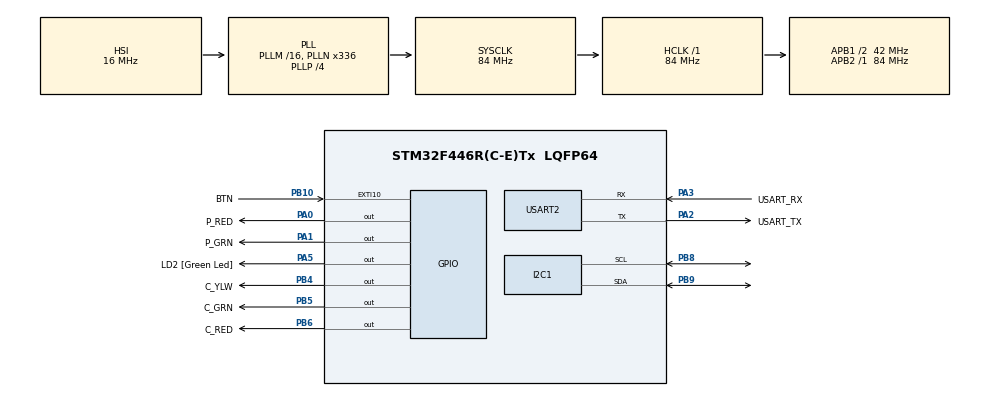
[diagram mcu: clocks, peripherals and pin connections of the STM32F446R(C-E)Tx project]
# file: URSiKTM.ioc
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I2C1.I2C_Mode=I2C_Standard
Mcu.Family=STM32F4
Mcu.Name=STM32F446R(C-E)Tx
Mcu.Package=LQFP64
NVIC.EXTI15_10_IRQn=true\:0\:0\:true\:false\:true\:true\:true\:true
NVIC.PriorityGroup=NVIC_PRIORITYGROUP_0
NVIC.TIM2_IRQn=true\:0\:0\:false\:false\:true\:true\:true\:true
NVIC.TIM6_DAC_IRQn=true\:0\:0\:true\:false\:true\:true\:true\:true
PA0-WKUP.GPIO_Label=P_RED
PA0-WKUP.Signal=GPIO_Output
PA1.GPIO_Label=P_GRN
PA1.Signal=GPIO_Output
PA13.GPIO_Label=TMS
PA13.Mode=Serial_Wire
PA13.Signal=SYS_JTMS-SWDIO
PA14.GPIO_Label=TCK
PA14.Mode=Serial_Wire
PA14.Signal=SYS_JTCK-SWCLK
PA2.GPIO_Label=USART_TX
PA2.Mode=Asynchronous
PA2.Signal=USART2_TX
PA3.GPIO_Label=USART_RX
PA3.Mode=Asynchronous
PA3.Signal=USART2_RX
PA5.GPIO_Label=LD2 [Green Led]
PA5.Signal=GPIO_Output
PB10.GPIO_Label=BTN
PB10.GPIO_ModeDefaultEXTI=GPIO_MODE_IT_FALLING
PB10.GPIO_PuPd=GPIO_PULLUP
PB10.Signal=GPXTI10
PB3.GPIO_Label=SWO
PB3.Signal=SYS_JTDO-SWO
PB4.GPIO_Label=C_YLW
PB4.Signal=GPIO_Output
PB5.GPIO_Label=C_GRN
PB5.Signal=GPIO_Output
PB6.GPIO_Label=C_RED
PB6.GPIO_PuPd=GPIO_NOPULL
PB6.Signal=GPIO_Output
PB8.Mode=I2C
PB8.Signal=I2C1_SCL
PB9.Mode=I2C
PB9.Signal=I2C1_SDA
PC14-OSC32_IN.Mode=LSE-External-Oscillator
PC14-OSC32_IN.Signal=RCC_OSC32_IN
PC15-OSC32_OUT.Mode=LSE-External-Oscillator
PC15-OSC32_OUT.Signal=RCC_OSC32_OUT
PH0-OSC_IN.Mode=HSE-External-Oscillator
PH0-OSC_IN.Signal=RCC_OSC_IN
PH1-OSC_OUT.Mode=HSE-External-Oscillator
PH1-OSC_OUT.Signal=RCC_OSC_OUT
ProjectManager.HeapSize=0x200
ProjectManager.StackSize=0x400
ProjectManager.TargetToolchain=STM32CubeIDE
RCC.48MHZClocksFreq_Value=84000000
RCC.AHBFreq_Value=84000000
RCC.APB1CLKDivider=RCC_HCLK_DIV2
RCC.APB1Freq_Value=42000000
RCC.APB1TimFreq_Value=84000000
RCC.APB2Freq_Value=84000000
RCC.APB2TimFreq_Value=84000000
RCC.CortexFreq_Value=84000000
RCC.FLatency-AdvancedSettings=FLASH_LATENCY_2
RCC.HCLKFreq_Value=84000000
RCC.HSE_VALUE=8000000
RCC.HSI_VALUE=16000000
RCC.PLLN=336
RCC.PLLP=RCC_PLLP_DIV4
RCC.SYSCLKFreq_VALUE=84000000
RCC.SYSCLKSource=RCC_SYSCLKSOURCE_PLLCLK
RCC.USBFreq_Value=168000000
RCC.VCOOutputFreq_Value=336000000
TIM2.Period=9999
TIM2.Prescaler=7999
TIM6.Period=99
TIM6.Prescaler=15999
USART2.VirtualMode=VM_ASYNC
VP_TIM2_VS_ClockSourceINT.Mode=Internal
VP_TIM6_VS_ClockSourceINT.Mode=Enable_Timer
board=NUCLEO-F446RE

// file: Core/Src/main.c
/* USER CODE BEGIN Header */
/**
  ******************************************************************************
  * @file           : main.c
  * @brief          : Main program body
  ******************************************************************************
  * @attention
  *
  * Copyright (c) 2024 STMicroelectronics.
  * All rights reserved.
  *
  * This software is licensed under terms that can be found in the LICENSE file
  * in the root directory of this software component.
  * If no LICENSE file comes with this software, it is provided AS-IS.
  *
  ******************************************************************************
  */
/* USER CODE END Header */
#include "main.h"
#include "i2c.h"
#include "tim.h"
#include "usart.h"
#include "gpio.h"

/* USER CODE BEGIN Includes */
#include "control_code.h"
#include "fonts.h"
/* USER CODE END Includes */

void SystemClock_Config(void);

int main(void)
{

  /* MCU Configuration--------------------------------------------------------*/

  /* Reset of all peripherals, Initializes the Flash interface and the Systick. */
  HAL_Init();

  /* Configure the system clock */
  SystemClock_Config();

  /* Initialize all configured peripherals */
  MX_GPIO_Init();
  MX_USART2_UART_Init();
  MX_TIM6_Init();
  MX_TIM2_Init();
  MX_I2C1_Init();
  /* USER CODE BEGIN 2 */
  __HAL_TIM_CLEAR_IT(&htim2, TIM_IT_UPDATE);
  HAL_TIM_Base_Start_IT(&htim2);

  HAL_GPIO_WritePin(GPIOB,C_GRN_Pin, GPIO_PIN_SET);
  HAL_GPIO_WritePin(GPIOA,P_RED_Pin, GPIO_PIN_SET);

  if(screenInit(&hi2c1) != 0){
	  Error_Handler();
  }
  HAL_Delay(1000);

  screenClear();
  screenUpdate(&hi2c1);
  HAL_Delay(1000);

  screenSetCursor(0, 0);
  screenWriteStr("Hello", Font_6x8);
  screenSetCursor(0, 16);
  screenWriteStr("World", Font_6x8);
  screenUpdate(&hi2c1);
  HAL_Delay(1000);
  /* USER CODE END 2 */

  /* Infinite loop */
  while (1)
  {

  }
}

void SystemClock_Config(void)
{
  RCC_OscInitTypeDef RCC_OscInitStruct = {0};
  RCC_ClkInitTypeDef RCC_ClkInitStruct = {0};

  /** Configure the main internal regulator output voltage
  */
  __HAL_RCC_PWR_CLK_ENABLE();
  __HAL_PWR_VOLTAGESCALING_CONFIG(PWR_REGULATOR_VOLTAGE_SCALE3);

  /** Initializes the RCC Oscillators according to the specified parameters
  * in the RCC_OscInitTypeDef structure.
  */
  RCC_OscInitStruct.OscillatorType = RCC_OSCILLATORTYPE_HSI;
  RCC_OscInitStruct.HSIState = RCC_HSI_ON;
  RCC_OscInitStruct.HSICalibrationValue = RCC_HSICALIBRATION_DEFAULT;
  RCC_OscInitStruct.PLL.PLLState = RCC_PLL_ON;
  RCC_OscInitStruct.PLL.PLLSource = RCC_PLLSOURCE_HSI;
  RCC_OscInitStruct.PLL.PLLM = 16;
  RCC_OscInitStruct.PLL.PLLN = 336;
  RCC_OscInitStruct.PLL.PLLP = RCC_PLLP_DIV4;
  RCC_OscInitStruct.PLL.PLLQ = 2;
  RCC_OscInitStruct.PLL.PLLR = 2;
  if (HAL_RCC_OscConfig(&RCC_OscInitStruct) != HAL_OK)
  {
    Error_Handler();
  }

  /** Initializes the CPU, AHB and APB buses clocks
  */
  RCC_ClkInitStruct.ClockType = RCC_CLOCKTYPE_HCLK|RCC_CLOCKTYPE_SYSCLK
                              |RCC_CLOCKTYPE_PCLK1|RCC_CLOCKTYPE_PCLK2;
  RCC_ClkInitStruct.SYSCLKSource = RCC_SYSCLKSOURCE_PLLCLK;
  RCC_ClkInitStruct.AHBCLKDivider = RCC_SYSCLK_DIV1;
  RCC_ClkInitStruct.APB1CLKDivider = RCC_HCLK_DIV2;
  RCC_ClkInitStruct.APB2CLKDivider = RCC_HCLK_DIV1;

  if (HAL_RCC_ClockConfig(&RCC_ClkInitStruct, FLASH_LATENCY_2) != HAL_OK)
  {
    Error_Handler();
  }
}

void Error_Handler(void)
{
  __disable_irq();
  while (1)
  {
  }
}
